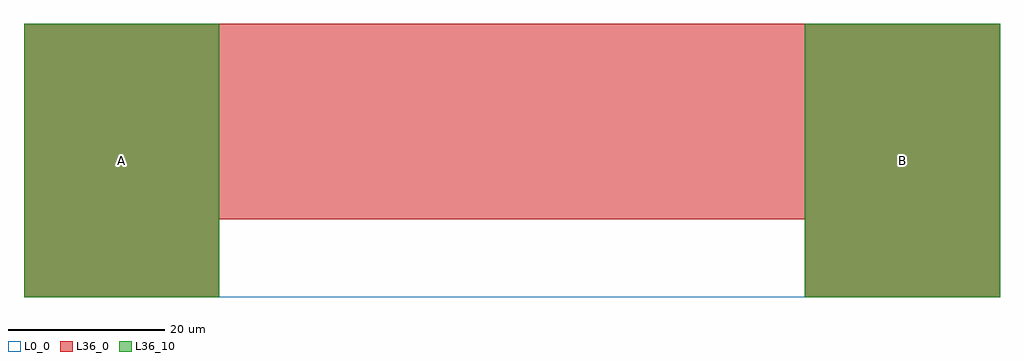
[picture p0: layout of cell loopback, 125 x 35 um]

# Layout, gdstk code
import gdstk
lib = gdstk.Library(unit=1e-6, precision=1e-09)
def R(c, l, rs):  # rectangles x0, y0, x1, y1
    for r in rs: c.add(gdstk.rectangle(r[:2], r[2:], *l))
L0_0 = (0, 0)
L36_0 = (36, 0)
L36_10 = (36, 10)

loopback = lib.new_cell('loopback')
R(loopback, L0_0, [(0,0,125,35)])
R(loopback, L36_0, [(0,0,25,10), (100,0,125,10), (0,10,125,35)])
R(loopback, L36_10, [(0,0,25,35), (100,0,125,35)])
loopback.add(gdstk.Label('A', (12.5,17.5), layer=36, texttype=10))
loopback.add(gdstk.Label('B', (112.5,17.5), layer=36, texttype=10))

lib.write_gds('loopback.gds')
